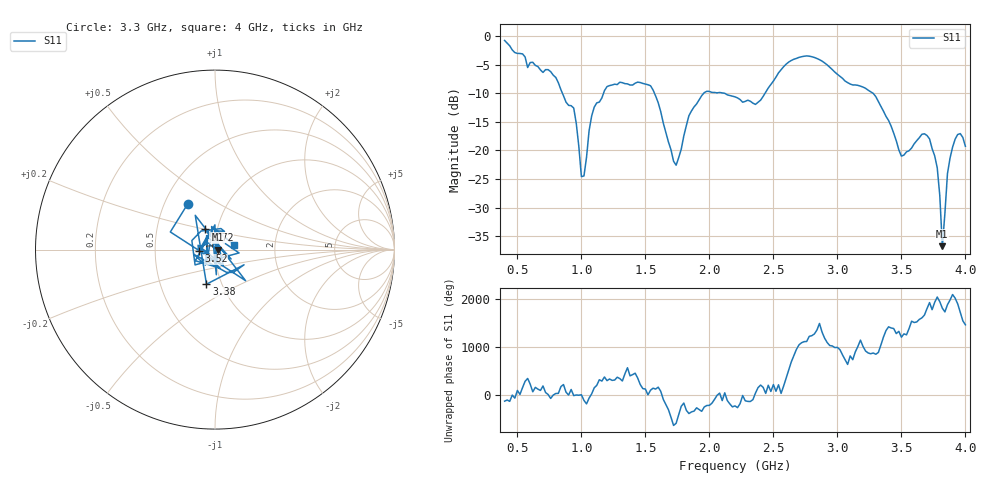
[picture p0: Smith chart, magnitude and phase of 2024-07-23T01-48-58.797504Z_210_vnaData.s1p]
!Created with skrf (http://scikit-rf.org).
# Hz S RI R 50.0
!freq ReS11 ImS11
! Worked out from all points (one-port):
!   181 points, 400 MHz to 4 GHz, reference 50 ohm
!   lowest |S11| = -36.7 dB at 3.82 GHz (marker M1), VSWR 1.03, Z = 51.5 + j0.00662 ohm
!   |S11| at or under -10 dB: 851.6 MHz to 1.173 GHz (321.2 MHz wide, 31.7 % of centre); 1.571 GHz to 1.956 GHz (384.8 MHz wide, 21.8 % of centre); 3.278 GHz to end of sweep (the widest 3 of 4)
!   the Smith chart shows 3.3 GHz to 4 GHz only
!   S11 on the Smith chart (normalised r, x): 3.3 GHz: 0.66, +0.36; 3.38 GHz: 0.85, -0.34; 3.52 GHz: 0.83, -0.02; 3.72 GHz: 0.87, +0.20; 4 GHz: 1.23, +0.07
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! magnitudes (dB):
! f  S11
! 400 MHz  -0.8
! 760 MHz  -6.2
! 860 MHz  -10.4
! 940 MHz  -12.6
! 1 GHz  -24.6
! 1.02 GHz  -24.4
! 1.1 GHz  -12.4
! 1.3 GHz  -8.1
! 1.54 GHz  -8.7
! 1.72 GHz  -21.9
! 1.76 GHz  -21.3
! 1.84 GHz  -13.9
! 1.96 GHz  -9.9
! 2.2 GHz  -10.6
! 2.36 GHz  -11.9
! 2.66 GHz  -4.1
! 3.1 GHz  -8.4
! 3.3 GHz  -10.6
! 3.38 GHz  -14.0
! 3.52 GHz  -20.8
! 3.56 GHz  -20.0
! 3.72 GHz  -18.0
! 3.78 GHz  -23.0
! 3.82 GHz  -36.7
! 3.86 GHz  -24.0
! 3.88 GHz  -21.3
! 3.94 GHz  -17.2
! 4 GHz  -19.3
